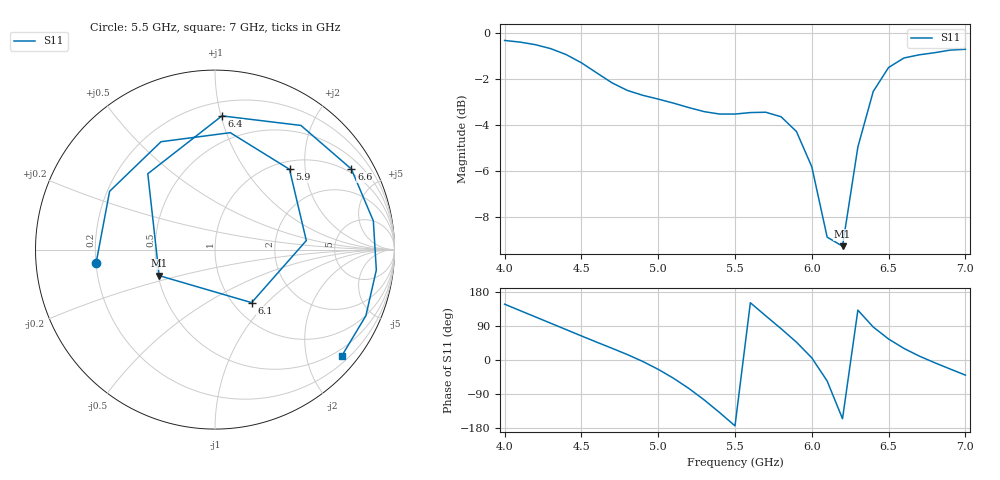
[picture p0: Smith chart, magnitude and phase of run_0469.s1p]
! Touchstone file exported from HFSS 2024.2.0
!  File:  C:/Users/wsak9/Desktop/Sim Fast/Widenad Patch/WP_AI_V1_sweep.aedt
!  Generated:  11:31:13 AM Oct 14, 2026
!  Design:  A1_model
!  Project:  WP_AI_V1_sweep
!  Setup:  Setup1
!  Solution:  Sweep
! Variables:
!  Air_gap = 2.69mm
!  Curve_Amp1 = 2.38
!  Curve_len1 = 1
!  Curve_pos = 10.275mm
!  Extra = 2.18mm
!  H_sub = 0.79mm
!  L_Patch = 16.55mm
!  L_Patch1 = 17.42mm
!  Sx = 3.1mm
!  Sy = 1.01mm
!  WS = 1.27mm
!  W_Patch = 16.05mm
!  W_Patch1 = 15.24mm
!Data is not renormalized
# GHz S MA
! Terminal data exported
! Port[1] = 1
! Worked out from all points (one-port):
!   31 points, 4 GHz to 7 GHz, reference per port
!   lowest |S11| = -9.3 dB at 6.2 GHz (marker M1), VSWR 2.05
!   |S11| at or under -10 dB: nowhere
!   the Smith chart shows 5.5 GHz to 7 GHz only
!   S11 on the Smith chart (normalised r, x): 5.5 GHz: 0.20, -0.05; 5.9 GHz: 1.16, +1.65; 6.1 GHz: 1.21, -0.82; 6.4 GHz: 0.30, +1.01; 6.6 GHz: 0.85, +3.46; 7 GHz: 0.35, -2.71
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4  0.9634 147.3
4.2  0.9433 113.8
4.3  0.9247 97.1
4.4  0.8978 80.3
4.6  0.8187 47.0
4.8  0.7496 14.2
4.9  0.7316 -4.0
5  0.7179 -24.6
5.1  0.7034 -48.3
5.2  0.6878 -75.2
5.3  0.6741 -105.5
5.4  0.666 -138.8
5.5  0.6659 -173.8
5.6  0.671 151.1
5.7  0.6721 116.6
5.8  0.657 82.6
5.9  0.6102 47.1
6  0.5112 5.6
6.1  0.3591 -55.4
6.2  0.3432 -155.0
6.3  0.5646 131.5
6.4  0.746 87.0
6.5  0.8413 55.3
6.6  0.8824 30.6
6.7  0.8966 10.3
6.8  0.906 -7.2
6.9  0.9178 -23.7
7  0.9217 -39.9
